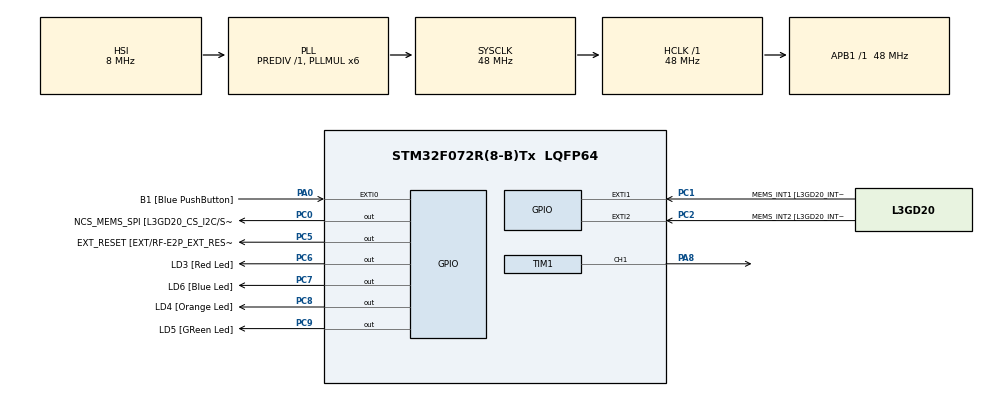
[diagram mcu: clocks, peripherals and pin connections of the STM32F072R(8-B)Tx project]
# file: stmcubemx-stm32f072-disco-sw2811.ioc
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Dma.Request0=TIM1_CH1
Dma.TIM1_CH1.0.Direction=DMA_MEMORY_TO_PERIPH
Dma.TIM1_CH1.0.Instance=DMA1_Channel2
Dma.TIM1_CH1.0.MemDataAlignment=DMA_MDATAALIGN_WORD
Dma.TIM1_CH1.0.MemInc=DMA_MINC_ENABLE
Dma.TIM1_CH1.0.Mode=DMA_NORMAL
Dma.TIM1_CH1.0.PeriphDataAlignment=DMA_PDATAALIGN_WORD
Dma.TIM1_CH1.0.PeriphInc=DMA_PINC_DISABLE
Dma.TIM1_CH1.0.Priority=DMA_PRIORITY_HIGH
Mcu.Family=STM32F0
Mcu.Name=STM32F072R(8-B)Tx
Mcu.Package=LQFP64
NVIC.DMA1_Channel2_3_IRQn=true\:0\:0\:false\:false\:true
PA0.GPIO_Label=B1 [Blue PushButton]
PA0.GPIO_ModeDefaultEXTI=GPIO_MODE_EVT_RISING
PA0.Signal=GPXTI0
PA11.GPIO_Label=USBF4_DM
PA11.Signal=USB_DM
PA12.GPIO_Label=USBF4_DP
PA12.Signal=USB_DP
PA13.GPIO_Label=SWDIO
PA13.Signal=SYS_SWDIO
PA14.GPIO_Label=SWCLK
PA14.Signal=SYS_SWCLK
PA2.Signal=TSC_G1_IO3
PA3.Signal=TSC_G1_IO4
PA6.Signal=TSC_G2_IO3
PA7.Signal=TSC_G2_IO4
PA8.GPIO_Speed=GPIO_SPEED_FREQ_HIGH
PA8.Signal=S_TIM1_CH1
PB0.Signal=TSC_G3_IO2
PB1.Signal=TSC_G3_IO3
PB10.GPIO_Label=I2C2_SCL[EXT/RF-E2P_SCL]
PB10.Signal=I2C2_SCL
PB11.GPIO_Label=I2C2_SDA[EXT/RF-E2P_SDA]
PB11.Signal=I2C2_SDA
PB13.GPIO_Label=SPI2_SCK [L3GD20_SCL/SPC]
PB13.Signal=SPI2_SCK
PB14.GPIO_Label=SPI2_MISO [L3GD20_SDO]
PB14.Signal=SPI2_MISO
PB15.GPIO_Label=SPI2_MOSI [L3GD20_SDA/SDI]
PB15.Signal=SPI2_MOSI
PC0.GPIO_Label=NCS_MEMS_SPI [L3GD20_CS_I2C/SPI]
PC0.Signal=GPIO_Output
PC1.GPIO_Label=MEMS_INT1 [L3GD20_INT1]
PC1.GPIO_ModeDefaultEXTI=GPIO_MODE_EVT_RISING
PC1.Signal=GPXTI1
PC2.GPIO_Label=MEMS_INT2 [L3GD20_INT2]
PC2.GPIO_ModeDefaultEXTI=GPIO_MODE_EVT_RISING
PC2.Signal=GPXTI2
PC5.GPIO_Label=EXT_RESET [EXT/RF-E2P_EXT_RESET]
PC5.Signal=GPIO_Output
PC6.GPIO_Label=LD3 [Red Led]
PC6.Signal=GPIO_Output
PC7.GPIO_Label=LD6 [Blue Led]
PC7.Signal=GPIO_Output
PC8.GPIO_Label=LD4 [Orange Led]
PC8.Signal=GPIO_Output
PC9.GPIO_Label=LD5 [GReen Led]
PC9.Signal=GPIO_Output
ProjectManager.HeapSize=0x200
ProjectManager.StackSize=0x400
ProjectManager.TargetToolchain=MDK-ARM V5
RCC.AHBFreq_Value=48000000
RCC.APB1Freq_Value=48000000
RCC.APB1TimFreq_Value=48000000
RCC.HCLKFreq_Value=48000000
RCC.PLLMUL=RCC_PLL_MUL6
RCC.SYSCLKFreq_VALUE=48000000
RCC.SYSCLKSource=RCC_SYSCLKSOURCE_PLLCLK
SH.S_TIM1_CH1.0=TIM1_CH1,PWM Generation1 CH1
VP_TIM1_VS_ClockSourceINT.Mode=Internal
board=STM32F072B-DISCO

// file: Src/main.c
/**
  ******************************************************************************
  * File Name          : main.c
  * Description        : Main program body
  ******************************************************************************
  *
  * COPYRIGHT(c) 2018 STMicroelectronics
  *
  * Redistribution and use in source and binary forms, with or without modification,
  * are permitted provided that the following conditions are met:
  *   1. Redistributions of source code must retain the above copyright notice,
  *      this list of conditions and the following disclaimer.
  *   2. Redistributions in binary form must reproduce the above copyright notice,
  *      this list of conditions and the following disclaimer in the documentation
  *      and/or other materials provided with the distribution.
  *   3. Neither the name of STMicroelectronics nor the names of its contributors
  *      may be used to endorse or promote products derived from this software
  *      without specific prior written permission.
  *
  * THIS SOFTWARE IS PROVIDED BY THE COPYRIGHT HOLDERS AND CONTRIBUTORS "AS IS"
  * AND ANY EXPRESS OR IMPLIED WARRANTIES, INCLUDING, BUT NOT LIMITED TO, THE
  * IMPLIED WARRANTIES OF MERCHANTABILITY AND FITNESS FOR A PARTICULAR PURPOSE ARE
  * DISCLAIMED. IN NO EVENT SHALL THE COPYRIGHT HOLDER OR CONTRIBUTORS BE LIABLE
  * FOR ANY DIRECT, INDIRECT, INCIDENTAL, SPECIAL, EXEMPLARY, OR CONSEQUENTIAL
  * DAMAGES (INCLUDING, BUT NOT LIMITED TO, PROCUREMENT OF SUBSTITUTE GOODS OR
  * SERVICES; LOSS OF USE, DATA, OR PROFITS; OR BUSINESS INTERRUPTION) HOWEVER
  * CAUSED AND ON ANY THEORY OF LIABILITY, WHETHER IN CONTRACT, STRICT LIABILITY,
  * OR TORT (INCLUDING NEGLIGENCE OR OTHERWISE) ARISING IN ANY WAY OUT OF THE USE
  * OF THIS SOFTWARE, EVEN IF ADVISED OF THE POSSIBILITY OF SUCH DAMAGE.
  *
  ******************************************************************************
  */
#include "main.h"
#include "stm32f0xx_hal.h"

/* USER CODE BEGIN Includes */
#define SYSTEM_FREQ                     48000000
#define SW2811_FREQ                     800000 //1.25u
#define PRESCALER                       1
#define TIMER_PERIOD                    (SYSTEM_FREQ / (PRESCALER * SW2811_FREQ))
#define RESET_SLOTS_BEGIN               64 // 80u/1.25u
#define LAST_SLOT                       1
#define GRB_DATA_SIZE                   24
#define SW2811_1                        30 // (0.625/1.25) * TIMER_PERIOD
#define SW2811_0                        16 // (0.325/1.25) * TIMER_PERIOD

#define LED_NUMBER                      10
#define TOTAL_GRB_DATA_SIZE             LED_NUMBER * GRB_DATA_SIZE
#define LED_BUFFER_SIZE                 (RESET_SLOTS_BEGIN + TOTAL_GRB_DATA_SIZE + LAST_SLOT)
/* USER CODE END Includes */

TIM_HandleTypeDef htim1;
DMA_HandleTypeDef hdma_tim1_ch1;

/* USER CODE BEGIN PV */
/* Private variables ---------------------------------------------------------*/
TIM_OC_InitTypeDef sConfigOC;
uint32_t led_buffer[LED_BUFFER_SIZE];
uint8_t colors[11][3] =
{
  {25,  0,  0},
  {25, 12,  0},
  {12, 25,  0},
  { 0, 25,  0},
  { 0, 25, 12},
  { 0, 12, 25},
  { 0,  0, 25},
  {12,  0, 25},
  {25,  0, 25},
  {25,  0, 12},
  { 0,  0,  0} // black = no color
};
/* USER CODE END PV */

void SystemClock_Config(void);
void Error_Handler(void);
static void MX_GPIO_Init(void);
static void MX_DMA_Init(void);
static void MX_TIM1_Init(void);
void HAL_TIM_MspPostInit(TIM_HandleTypeDef *htim);

/* USER CODE BEGIN PFP */
/* Private function prototypes -----------------------------------------------*/
void SW2811_SetRgbBuffer(uint32_t, uint8_t, uint8_t, uint8_t);
void SW2811_SetAllRgbBuffer(uint8_t, uint8_t, uint8_t);
void SW2811_UpdateRgbBuffer(void);
void SW2811_DemoRainbow(uint32_t);
/* USER CODE END PFP */

/* USER CODE BEGIN 0 */

void SW2811_SetRgbBuffer(uint32_t led_index, uint8_t r, uint8_t g, uint8_t b)
{

  led_index = led_index % LED_NUMBER; // prevent overflow
  uint8_t temp[GRB_DATA_SIZE];
  uint32_t i;

  // convert color code to SW2811 PWM standard
  // GREEN
  for (i = 0; i < 8; i++)
    temp[i] = ((g << i) & 0x80) ? SW2811_1 : SW2811_0;

  // RED
  for (i = 0; i < 8; i++)
    temp[8 + i] = ((r << i) & 0x80) ? SW2811_1 : SW2811_0;

  // BLUE
  for (i = 0; i < 8; i++)
    temp[16 + i] = ((b << i) & 0x80) ? SW2811_1 : SW2811_0;

  // combine
  for(i = 0; i < 24; i++)
    led_buffer[RESET_SLOTS_BEGIN + led_index * 24 + i] = temp[i];

}

void SW2811_SetAllRgbBuffer(uint8_t r, uint8_t g, uint8_t b)
{
  for(int index = 0; index < LED_NUMBER ; index++)
    SW2811_SetRgbBuffer(index, r, g, b);
}

void SW2811_UpdateRgbBuffer()
{
  if (HAL_TIM_PWM_ConfigChannel(&htim1, &sConfigOC, TIM_CHANNEL_1) != HAL_OK)
  {
    Error_Handler();
  }
  HAL_TIM_PWM_Start_DMA(&htim1, TIM_CHANNEL_1, led_buffer, LED_BUFFER_SIZE);
}

void SW2811_DemoRainbow(uint32_t delay)
{
  uint8_t index = 0;
  while(1)
  {
    if(index < LED_NUMBER)
    {
      for(int i = 0; i < 10; i++){
        HAL_Delay(delay);
        SW2811_SetRgbBuffer(index++, colors[i][0], colors[i][1], colors[i][2]);
        SW2811_UpdateRgbBuffer();
      }
    }
    else
    {
      for(int i = 0; i < 10; i++)
      {
        HAL_Delay(delay);
        SW2811_SetRgbBuffer(--index, colors[i][0], colors[i][1], colors[i][2]);
        SW2811_UpdateRgbBuffer();
      }
    }

    for(int i = 0; i < 11; i ++)
    {
      HAL_Delay(delay);
      SW2811_SetAllRgbBuffer(colors[i][0], colors[i][1], colors[i][2]);
      SW2811_UpdateRgbBuffer();
    }
  }
}
/* USER CODE END 0 */

int main(void)
{

  /* MCU Configuration----------------------------------------------------------*/

  /* Reset of all peripherals, Initializes the Flash interface and the Systick. */
  HAL_Init();

  /* Configure the system clock */
  SystemClock_Config();

  /* Initialize all configured peripherals */
  MX_GPIO_Init();
  MX_DMA_Init();
  MX_TIM1_Init();

  /* USER CODE BEGIN 2 */
  SW2811_SetAllRgbBuffer(0, 0, 0);
  SW2811_UpdateRgbBuffer();
  SW2811_DemoRainbow(100);
  /* USER CODE END 2 */

  /* Infinite loop */
  while (1)
  {

  }

}

/** System Clock Configuration
*/
void SystemClock_Config(void)
{

  RCC_OscInitTypeDef RCC_OscInitStruct;
  RCC_ClkInitTypeDef RCC_ClkInitStruct;

    /**Initializes the CPU, AHB and APB busses clocks
    */
  RCC_OscInitStruct.OscillatorType = RCC_OSCILLATORTYPE_HSI;
  RCC_OscInitStruct.HSIState = RCC_HSI_ON;
  RCC_OscInitStruct.HSICalibrationValue = 16;
  RCC_OscInitStruct.PLL.PLLState = RCC_PLL_ON;
  RCC_OscInitStruct.PLL.PLLSource = RCC_PLLSOURCE_HSI;
  RCC_OscInitStruct.PLL.PLLMUL = RCC_PLL_MUL6;
  RCC_OscInitStruct.PLL.PREDIV = RCC_PREDIV_DIV1;
  if (HAL_RCC_OscConfig(&RCC_OscInitStruct) != HAL_OK)
  {
    Error_Handler();
  }

    /**Initializes the CPU, AHB and APB busses clocks
    */
  RCC_ClkInitStruct.ClockType = RCC_CLOCKTYPE_HCLK|RCC_CLOCKTYPE_SYSCLK
                              |RCC_CLOCKTYPE_PCLK1;
  RCC_ClkInitStruct.SYSCLKSource = RCC_SYSCLKSOURCE_PLLCLK;
  RCC_ClkInitStruct.AHBCLKDivider = RCC_SYSCLK_DIV1;
  RCC_ClkInitStruct.APB1CLKDivider = RCC_HCLK_DIV1;

  if (HAL_RCC_ClockConfig(&RCC_ClkInitStruct, FLASH_LATENCY_1) != HAL_OK)
  {
    Error_Handler();
  }

    /**Configure the Systick interrupt time
    */
  HAL_SYSTICK_Config(HAL_RCC_GetHCLKFreq()/1000);

    /**Configure the Systick
    */
  HAL_SYSTICK_CLKSourceConfig(SYSTICK_CLKSOURCE_HCLK);

  /* SysTick_IRQn interrupt configuration */
  HAL_NVIC_SetPriority(SysTick_IRQn, 0, 0);
}

/* TIM1 init function */
static void MX_TIM1_Init(void)
{

  TIM_ClockConfigTypeDef sClockSourceConfig;
  TIM_MasterConfigTypeDef sMasterConfig;
  TIM_OC_InitTypeDef sConfigOC;
  TIM_BreakDeadTimeConfigTypeDef sBreakDeadTimeConfig;

  htim1.Instance = TIM1;
  htim1.Init.Prescaler = PRESCALER - 1;
  htim1.Init.CounterMode = TIM_COUNTERMODE_UP;
  htim1.Init.Period = TIMER_PERIOD - 1;
  htim1.Init.ClockDivision = TIM_CLOCKDIVISION_DIV1;
  htim1.Init.RepetitionCounter = 0;
  htim1.Init.AutoReloadPreload = TIM_AUTORELOAD_PRELOAD_DISABLE;
  if (HAL_TIM_Base_Init(&htim1) != HAL_OK)
  {
    Error_Handler();
  }

  sClockSourceConfig.ClockSource = TIM_CLOCKSOURCE_INTERNAL;
  if (HAL_TIM_ConfigClockSource(&htim1, &sClockSourceConfig) != HAL_OK)
  {
    Error_Handler();
  }

  if (HAL_TIM_PWM_Init(&htim1) != HAL_OK)
  {
    Error_Handler();
  }

  sMasterConfig.MasterOutputTrigger = TIM_TRGO_RESET;
  sMasterConfig.MasterSlaveMode = TIM_MASTERSLAVEMODE_DISABLE;
  if (HAL_TIMEx_MasterConfigSynchronization(&htim1, &sMasterConfig) != HAL_OK)
  {
    Error_Handler();
  }

  sConfigOC.OCMode = TIM_OCMODE_PWM1;
  sConfigOC.Pulse = 0;
  sConfigOC.OCPolarity = TIM_OCPOLARITY_HIGH;
  sConfigOC.OCNPolarity = TIM_OCNPOLARITY_HIGH;
  sConfigOC.OCFastMode = TIM_OCFAST_DISABLE;
  sConfigOC.OCIdleState = TIM_OCIDLESTATE_RESET;
  sConfigOC.OCNIdleState = TIM_OCNIDLESTATE_RESET;
  if (HAL_TIM_PWM_ConfigChannel(&htim1, &sConfigOC, TIM_CHANNEL_1) != HAL_OK)
  {
    Error_Handler();
  }

  sBreakDeadTimeConfig.OffStateRunMode = TIM_OSSR_DISABLE;
  sBreakDeadTimeConfig.OffStateIDLEMode = TIM_OSSI_DISABLE;
  sBreakDeadTimeConfig.LockLevel = TIM_LOCKLEVEL_OFF;
  sBreakDeadTimeConfig.DeadTime = 0;
  sBreakDeadTimeConfig.BreakState = TIM_BREAK_DISABLE;
  sBreakDeadTimeConfig.BreakPolarity = TIM_BREAKPOLARITY_HIGH;
  sBreakDeadTimeConfig.AutomaticOutput = TIM_AUTOMATICOUTPUT_DISABLE;
  if (HAL_TIMEx_ConfigBreakDeadTime(&htim1, &sBreakDeadTimeConfig) != HAL_OK)
  {
    Error_Handler();
  }

  HAL_TIM_MspPostInit(&htim1);

}

static void MX_DMA_Init(void)
{
  /* DMA controller clock enable */
  __HAL_RCC_DMA1_CLK_ENABLE();

  /* DMA interrupt init */
  /* DMA1_Channel2_3_IRQn interrupt configuration */
  HAL_NVIC_SetPriority(DMA1_Channel2_3_IRQn, 0, 0);
  HAL_NVIC_EnableIRQ(DMA1_Channel2_3_IRQn);

}

/** Configure pins as
        * Analog
        * Input
        * Output
        * EVENT_OUT
        * EXTI
     PA2   ------> TSC_G1_IO3
     PA3   ------> TSC_G1_IO4
     PA6   ------> TSC_G2_IO3
     PA7   ------> TSC_G2_IO4
     PB0   ------> TSC_G3_IO2
     PB1   ------> TSC_G3_IO3
     PB10   ------> I2C2_SCL
     PB11   ------> I2C2_SDA
     PB13   ------> SPI2_SCK
     PB14   ------> SPI2_MISO
     PB15   ------> SPI2_MOSI
*/
static void MX_GPIO_Init(void)
{

  GPIO_InitTypeDef GPIO_InitStruct;

  /* GPIO Ports Clock Enable */
  __HAL_RCC_GPIOC_CLK_ENABLE();
  __HAL_RCC_GPIOA_CLK_ENABLE();
  __HAL_RCC_GPIOB_CLK_ENABLE();

  /*Configure GPIO pin Output Level */
  HAL_GPIO_WritePin(GPIOC, NCS_MEMS_SPI_Pin|EXT_RESET_Pin|LD3_Pin|LD6_Pin
                          |LD4_Pin|LD5_Pin, GPIO_PIN_RESET);

  /*Configure GPIO pins : NCS_MEMS_SPI_Pin EXT_RESET_Pin LD3_Pin LD6_Pin
                           LD4_Pin LD5_Pin */
  GPIO_InitStruct.Pin = NCS_MEMS_SPI_Pin|EXT_RESET_Pin|LD3_Pin|LD6_Pin
                          |LD4_Pin|LD5_Pin;
  GPIO_InitStruct.Mode = GPIO_MODE_OUTPUT_PP;
  GPIO_InitStruct.Pull = GPIO_NOPULL;
  GPIO_InitStruct.Speed = GPIO_SPEED_FREQ_LOW;
  HAL_GPIO_Init(GPIOC, &GPIO_InitStruct);

  /*Configure GPIO pins : MEMS_INT1_Pin MEMS_INT2_Pin */
  GPIO_InitStruct.Pin = MEMS_INT1_Pin|MEMS_INT2_Pin;
  GPIO_InitStruct.Mode = GPIO_MODE_EVT_RISING;
  GPIO_InitStruct.Pull = GPIO_NOPULL;
  HAL_GPIO_Init(GPIOC, &GPIO_InitStruct);

  /*Configure GPIO pin : B1_Pin */
  GPIO_InitStruct.Pin = B1_Pin;
  GPIO_InitStruct.Mode = GPIO_MODE_EVT_RISING;
  GPIO_InitStruct.Pull = GPIO_NOPULL;
  HAL_GPIO_Init(B1_GPIO_Port, &GPIO_InitStruct);

  /*Configure GPIO pins : PA2 PA3 PA6 PA7 */
  GPIO_InitStruct.Pin = GPIO_PIN_2|GPIO_PIN_3|GPIO_PIN_6|GPIO_PIN_7;
  GPIO_InitStruct.Mode = GPIO_MODE_AF_PP;
  GPIO_InitStruct.Pull = GPIO_NOPULL;
  GPIO_InitStruct.Speed = GPIO_SPEED_FREQ_LOW;
  GPIO_InitStruct.Alternate = GPIO_AF3_TSC;
  HAL_GPIO_Init(GPIOA, &GPIO_InitStruct);

  /*Configure GPIO pins : PB0 PB1 */
  GPIO_InitStruct.Pin = GPIO_PIN_0|GPIO_PIN_1;
  GPIO_InitStruct.Mode = GPIO_MODE_AF_PP;
  GPIO_InitStruct.Pull = GPIO_NOPULL;
  GPIO_InitStruct.Speed = GPIO_SPEED_FREQ_LOW;
  GPIO_InitStruct.Alternate = GPIO_AF3_TSC;
  HAL_GPIO_Init(GPIOB, &GPIO_InitStruct);

  /*Configure GPIO pins : I2C2_SCL_Pin I2C2_SDA_Pin */
  GPIO_InitStruct.Pin = I2C2_SCL_Pin|I2C2_SDA_Pin;
  GPIO_InitStruct.Mode = GPIO_MODE_AF_OD;
  GPIO_InitStruct.Pull = GPIO_PULLUP;
  GPIO_InitStruct.Speed = GPIO_SPEED_FREQ_HIGH;
  GPIO_InitStruct.Alternate = GPIO_AF1_I2C2;
  HAL_GPIO_Init(GPIOB, &GPIO_InitStruct);

  /*Configure GPIO pins : SPI2_SCK_Pin SPI2_MISO_Pin SPI2_MOSI_Pin */
  GPIO_InitStruct.Pin = SPI2_SCK_Pin|SPI2_MISO_Pin|SPI2_MOSI_Pin;
  GPIO_InitStruct.Mode = GPIO_MODE_AF_PP;
  GPIO_InitStruct.Pull = GPIO_NOPULL;
  GPIO_InitStruct.Speed = GPIO_SPEED_FREQ_HIGH;
  GPIO_InitStruct.Alternate = GPIO_AF0_SPI2;
  HAL_GPIO_Init(GPIOB, &GPIO_InitStruct);

}

void Error_Handler(void)
{
  while(1)
  {
  }
}

/************************ (C) COPYRIGHT STMicroelectronics *****END OF FILE****/
